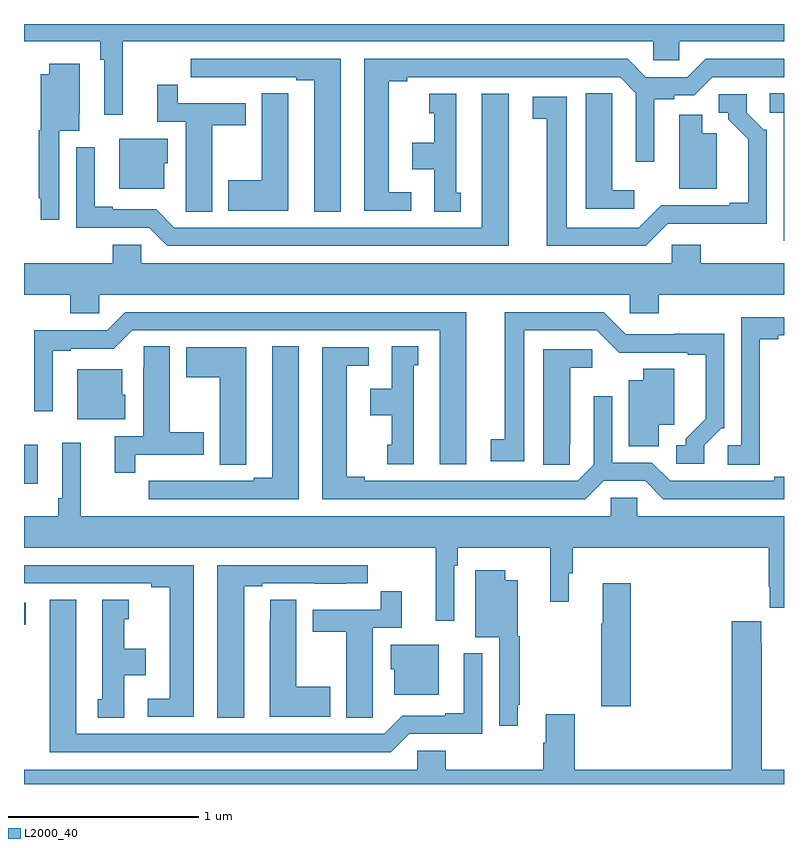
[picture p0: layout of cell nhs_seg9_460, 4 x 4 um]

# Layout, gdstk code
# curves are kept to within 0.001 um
import gdstk
lib = gdstk.Library(unit=1e-6, precision=1e-09)
def R(c, l, rs):  # rectangles x0, y0, x1, y1
    for r in rs: c.add(gdstk.rectangle(r[:2], r[2:], *l))
def P(c, l, *ps):  # polygons
    for p in ps: c.add(gdstk.Polygon(p, *l))
L2000_40 = (2000, 40)

nhs_seg9_460 = lib.new_cell('nhs_seg9_460')
R(nhs_seg9_460, L2000_40, [(133,1205.338,133.009,1205.454), (133,1206.08,133.072,1206.286)])
P(nhs_seg9_460, L2000_40, [(133.52,1208.408),(136.311,1208.408),(136.311,1208.31),(136.449,1208.31),(136.449,1208.408),(137,1208.408),(137,1208.5),(133,1208.5),(133,1208.408),(133.402,1208.408),(133.402,1208.312),(133.422,1208.312),(133.422,1208.022),(133.52,1208.022)],
  [(134.668,1208.316),(133.878,1208.316),(133.878,1208.22),(133.99,1208.22),(133.99,1208.219),(134.156,1208.219),(134.156,1208.22),(134.432,1208.22),(134.432,1208.205),(134.528,1208.205),(134.528,1207.513),(134.668,1207.513)],
  [(135.037,1207.614),(134.92,1207.614),(134.92,1208.2),(135.016,1208.2),(135.016,1208.22),(136.137,1208.22),(136.221,1208.136),(136.221,1207.776),(136.318,1207.776),(136.318,1208.104),(136.422,1208.104),(136.422,1208.124),(136.527,1208.124),(136.623,1208.22),(137,1208.22),(137,1208.316),(136.587,1208.316),(136.491,1208.22),(136.273,1208.22),(136.177,1208.316),(134.792,1208.316),(134.792,1207.518),(135.037,1207.518)],
  [(133.185,1207.937),(133.291,1207.937),(133.291,1208.034),(133.294,1208.034),(133.294,1208.29),(133.133,1208.29),(133.133,1208.236),(133.088,1208.236),(133.088,1207.941),(133.077,1207.941),(133.077,1207.582),(133.088,1207.582),(133.088,1207.47),(133.185,1207.47)],
  [(133.99,1207.966),(134.167,1207.966),(134.167,1208.082),(133.808,1208.082),(133.808,1208.179),(133.7,1208.179),(133.7,1207.986),(133.85,1207.986),(133.85,1207.624),(133.851,1207.624),(133.851,1207.513),(133.99,1207.513)],
  [(134.392,1208.027),(134.391,1208.027),(134.391,1208.135),(134.252,1208.135),(134.252,1207.677),(134.075,1207.677),(134.075,1207.517),(134.392,1207.517)],
  [(136.213,1207.624),(136.096,1207.624),(136.096,1208.027),(136.095,1208.027),(136.095,1208.135),(135.956,1208.135),(135.956,1207.527),(136.213,1207.527)],
  [(137,1208.135),(136.926,1208.135),(136.926,1208.034),(136.998,1208.034),(136.998,1207.359),(137,1207.359)],
  [(135.55,1208.134),(135.41,1208.134),(135.41,1207.428),(133.791,1207.428),(133.695,1207.524),(133.468,1207.524),(133.468,1207.537),(133.372,1207.537),(133.372,1207.852),(133.275,1207.852),(133.275,1207.428),(133.659,1207.428),(133.755,1207.332),(135.55,1207.332)],
  [(135.298,1207.611),(135.274,1207.611),(135.274,1208.134),(135.134,1208.134),(135.134,1208.031),(135.158,1208.031),(135.158,1207.876),(135.044,1207.876),(135.044,1207.736),(135.158,1207.736),(135.158,1207.513),(135.298,1207.513)],
  [(136.389,1207.449),(136.908,1207.448),(136.908,1207.944),(136.893,1207.944),(136.803,1208.034),(136.803,1208.13),(136.656,1208.13),(136.656,1208.034),(136.706,1208.034),(136.706,1207.999),(136.811,1207.894),(136.811,1207.558),(136.715,1207.558),(136.715,1207.545),(136.353,1207.545),(136.236,1207.428),(135.856,1207.428),(135.856,1208.118),(135.678,1208.118),(135.678,1208.002),(135.752,1208.002),(135.752,1207.332),(136.272,1207.332)],
  [(136.645,1207.924),(136.57,1207.924),(136.57,1208.023),(136.448,1208.023),(136.448,1207.634),(136.645,1207.634)],
  [(133.738,1207.767),(133.756,1207.767),(133.756,1207.897),(133.502,1207.897),(133.502,1207.634),(133.738,1207.634)],
  [(133.395,1207.076),(136.188,1207.076),(136.188,1206.978),(136.34,1206.978),(136.34,1207.076),(137,1207.076),(137,1207.24),(136.562,1207.24),(136.562,1207.338),(136.41,1207.338),(136.41,1207.24),(133.617,1207.24),(133.617,1207.338),(133.466,1207.338),(133.466,1207.24),(133,1207.24),(133,1207.076),(133.244,1207.076),(133.244,1206.978),(133.395,1206.978)],
  [(135.328,1206.984),(133.533,1206.984),(133.437,1206.888),(133.053,1206.888),(133.053,1206.462),(133.15,1206.462),(133.15,1206.78),(133.246,1206.78),(133.246,1206.792),(133.473,1206.792),(133.569,1206.888),(135.188,1206.888),(135.188,1206.183),(135.328,1206.183)],
  [(136.581,1206.282),(136.671,1206.372),(136.686,1206.372),(136.686,1206.869),(136.423,1206.869),(136.423,1206.867),(136.167,1206.867),(136.05,1206.984),(135.53,1206.984),(135.53,1206.314),(135.456,1206.314),(135.456,1206.198),(135.634,1206.198),(135.634,1206.888),(136.014,1206.888),(136.132,1206.77),(136.493,1206.771),(136.493,1206.759),(136.589,1206.759),(136.589,1206.422),(136.484,1206.317),(136.484,1206.282),(136.434,1206.282),(136.434,1206.186),(136.581,1206.186)],
  [(136.873,1206.841),(136.969,1206.841),(136.969,1206.861),(137,1206.861),(137,1206.957),(136.776,1206.957),(136.776,1206.282),(136.704,1206.282),(136.704,1206.181),(136.873,1206.181)],
  [(134.446,1206.803),(134.306,1206.803),(134.306,1206.111),(134.21,1206.111),(134.21,1206.096),(133.934,1206.096),(133.934,1206.097),(133.768,1206.097),(133.768,1206.096),(133.656,1206.096),(133.656,1206),(134.446,1206)],
  [(135.052,1206.705),(135.076,1206.705),(135.076,1206.803),(134.936,1206.803),(134.936,1206.58),(134.822,1206.58),(134.822,1206.44),(134.936,1206.44),(134.936,1206.285),(134.912,1206.285),(134.912,1206.183),(135.052,1206.183)],
  [(133.586,1206.234),(133.945,1206.234),(133.945,1206.351),(133.768,1206.351),(133.768,1206.803),(133.629,1206.803),(133.629,1206.692),(133.628,1206.692),(133.628,1206.33),(133.478,1206.33),(133.478,1206.138),(133.586,1206.138)],
  [(134.169,1206.289),(134.17,1206.289),(134.17,1206.799),(133.853,1206.799),(133.853,1206.64),(134.03,1206.64),(134.03,1206.181),(134.169,1206.181)],
  [(136.051,1206.096),(136.269,1206.096),(136.365,1206),(137,1206),(137,1206.116),(136.949,1206.116),(136.949,1206.096),(136.401,1206.096),(136.305,1206.192),(136.095,1206.192),(136.095,1206.541),(135.999,1206.541),(135.999,1206.18),(135.915,1206.096),(134.794,1206.096),(134.794,1206.116),(134.698,1206.116),(134.698,1206.702),(134.815,1206.702),(134.815,1206.798),(134.57,1206.798),(134.57,1206),(135.955,1206)],
  [(135.873,1206.289),(135.874,1206.289),(135.874,1206.692),(135.991,1206.692),(135.991,1206.789),(135.734,1206.789),(135.734,1206.181),(135.873,1206.181)],
  [(136.342,1206.392),(136.423,1206.392),(136.423,1206.686),(136.259,1206.686),(136.259,1206.625),(136.184,1206.625),(136.184,1206.277),(136.342,1206.277)],
  [(133.534,1206.549),(133.516,1206.549),(133.516,1206.682),(133.28,1206.682),(133.28,1206.419),(133.534,1206.419)],
  [(135.264,1205.648),(135.284,1205.648),(135.284,1205.744),(135.769,1205.744),(135.769,1205.46),(135.868,1205.46),(135.868,1205.61),(135.887,1205.61),(135.887,1205.744),(136.919,1205.744),(136.919,1205.539),(136.925,1205.539),(136.925,1205.427),(137,1205.427),(137,1205.908),(136.227,1205.908),(136.227,1206.006),(136.089,1206.006),(136.089,1205.908),(133.298,1205.908),(133.298,1206.295),(133.2,1206.295),(133.2,1206.004),(133.18,1206.004),(133.18,1205.908),(133,1205.908),(133,1205.744),(135.167,1205.744),(135.167,1205.358),(135.264,1205.358)],
  [(133.894,1205.652),(133,1205.652),(133,1205.556),(133.67,1205.556),(133.67,1205.536),(133.766,1205.536),(133.766,1204.95),(133.65,1204.95),(133.65,1204.854),(133.894,1204.854)],
  [(134.158,1205.541),(134.254,1205.541),(134.254,1205.556),(134.53,1205.556),(134.53,1205.555),(134.696,1205.555),(134.696,1205.556),(134.809,1205.556),(134.809,1205.652),(134.018,1205.652),(134.018,1204.849),(134.158,1204.849)],
  [(135.598,1204.918),(135.61,1204.918),(135.61,1205.277),(135.598,1205.277),(135.598,1205.572),(135.532,1205.572),(135.532,1205.626),(135.374,1205.626),(135.374,1205.273),(135.501,1205.273),(135.501,1204.806),(135.598,1204.806)],
  [(136.193,1205.557),(136.046,1205.557),(136.046,1205.344),(136.039,1205.344),(136.039,1204.908),(136.193,1204.908)],
  [(134.835,1204.96),(134.836,1204.96),(134.836,1205.322),(134.987,1205.322),(134.987,1205.515),(134.878,1205.515),(134.878,1205.418),(134.519,1205.418),(134.519,1205.302),(134.696,1205.302),(134.696,1204.849),(134.835,1204.849)],
  [(134.611,1205.013),(134.434,1205.013),(134.434,1205.471),(134.295,1205.471),(134.295,1205.363),(134.294,1205.363),(134.294,1204.853),(134.611,1204.853)],
  [(135.027,1204.764),(135.411,1204.764),(135.411,1205.188),(135.314,1205.188),(135.314,1204.873),(135.218,1204.873),(135.218,1204.86),(134.991,1204.86),(134.895,1204.764),(133.276,1204.764),(133.276,1205.47),(133.136,1205.47),(133.136,1204.668),(134.931,1204.668)],
  [(133.528,1205.072),(133.642,1205.072),(133.642,1205.212),(133.528,1205.212),(133.528,1205.367),(133.552,1205.367),(133.552,1205.47),(133.412,1205.47),(133.412,1204.947),(133.388,1204.947),(133.388,1204.849),(133.528,1204.849)],
  [(137,1204.576),(136.884,1204.576),(136.884,1205.243),(136.879,1205.243),(136.879,1205.356),(136.724,1205.356),(136.724,1204.576),(135.899,1204.576),(135.899,1204.867),(135.746,1204.867),(135.746,1204.718),(135.734,1204.718),(135.734,1204.576),(135.221,1204.576),(135.221,1204.674),(135.069,1204.674),(135.069,1204.576),(133,1204.576),(133,1204.5),(137,1204.5)],
  [(135.184,1205.233),(134.93,1205.233),(134.93,1205.103),(134.948,1205.103),(134.948,1204.97),(135.184,1204.97)])

lib.write_gds('nhs_seg9_460.gds')
